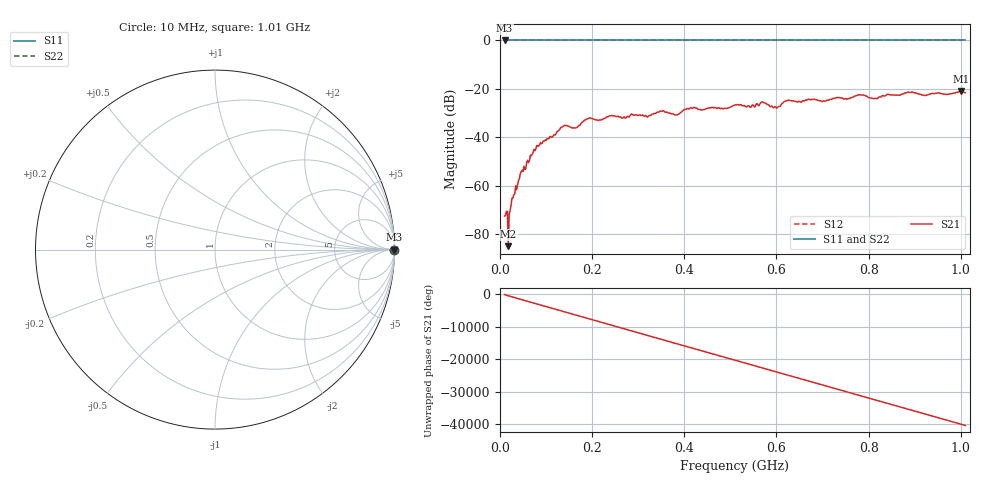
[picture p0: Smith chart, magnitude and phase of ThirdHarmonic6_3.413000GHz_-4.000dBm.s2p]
! 8/17/2025 10:55:50 AM
! C:\ANRITSUVNA\TEMP\TEMP.S2P
! CHANNEL.1
! TR.MEASUREMENT
! RAW.DATA
! RF.CORRECTION.OFF
! AVERAGING.OFF
! IF.BANDWIDTH: 5KHZ
! SWEEPTYPE:  FREQ.SWEEP(Linear)
! Reference Plane Port Info
! PORT:  PORT1  PORT2
! DISTANCE:  0  m  0  m
! TIME:  0  s  0  s
! PHASE.OFFSET:  0  deg.  0  deg.
! LOSS:  0  dB  0  dB
! REF.LOSS:  0  dB  0  dB
! REF.FREQ:  0  Hz  0  Hz
! Power Info
! POWER:  -20  dBm  -20  dBm
! EFF.POWER:  -20  dBm  -20  dBm
! SOURCE.ATTEN:  0  dB  0  dB
! TEST.ATTEN:  0  dB  0  dB
# GHZ S RI R 50.0
! FREQ.GHZ  S11RE  S11IM  S21RE  S21IM  S12RE  S12IM  S22RE  S22IM
!; PortSelection: Port_12
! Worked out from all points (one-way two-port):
!   501 points, 10 MHz to 1.01 GHz, reference 50 ohm
!   highest |S21| = -20.86 dB at 1 GHz (marker M1); lowest = -85.0 dB at 18 MHz (marker M2)
!   lowest |S11| = 0.0 dB at 10 MHz (marker M3)
!   |S11| at or under -10 dB: nowhere
!   |S22| runs from 0.0 to 0.0 dB; largest |S21 - S12| = 1.1
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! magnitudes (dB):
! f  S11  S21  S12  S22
! 10 MHz  0.0  -72.6  0.0  0.0
! 18 MHz  0.0  -85.0  0.0  0.0
! 22 MHz  0.0  -70.2  0.0  0.0
! 30 MHz  0.0  -63.8  0.0  0.0
! 44 MHz  0.0  -55.1  0.0  0.0
! 78 MHz  0.0  -44.7  0.0  0.0
! 136 MHz  0.0  -35.6  0.0  0.0
! 164 MHz  0.0  -36.1  0.0  0.0
! 178 MHz  0.0  -33.8  0.0  0.0
! 194 MHz  0.0  -32.0  0.0  0.0
! 318 MHz  0.0  -31.4  0.0  0.0
! 344 MHz  0.0  -29.7  0.0  0.0
! 384 MHz  0.0  -30.8  0.0  0.0
! 418 MHz  0.0  -28.0  0.0  0.0
! 510 MHz  0.0  -26.7  0.0  0.0
! 570 MHz  0.0  -25.4  0.0  0.0
! 598 MHz  0.0  -27.4  0.0  0.0
! 624 MHz  0.0  -24.9  0.0  0.0
! 678 MHz  0.0  -24.4  0.0  0.0
! 844 MHz  0.0  -22.4  0.0  0.0
! 1 GHz  0.0  -20.9  0.0  0.0
! 1.01 GHz  0.0  -21.6  0.0  0.0
